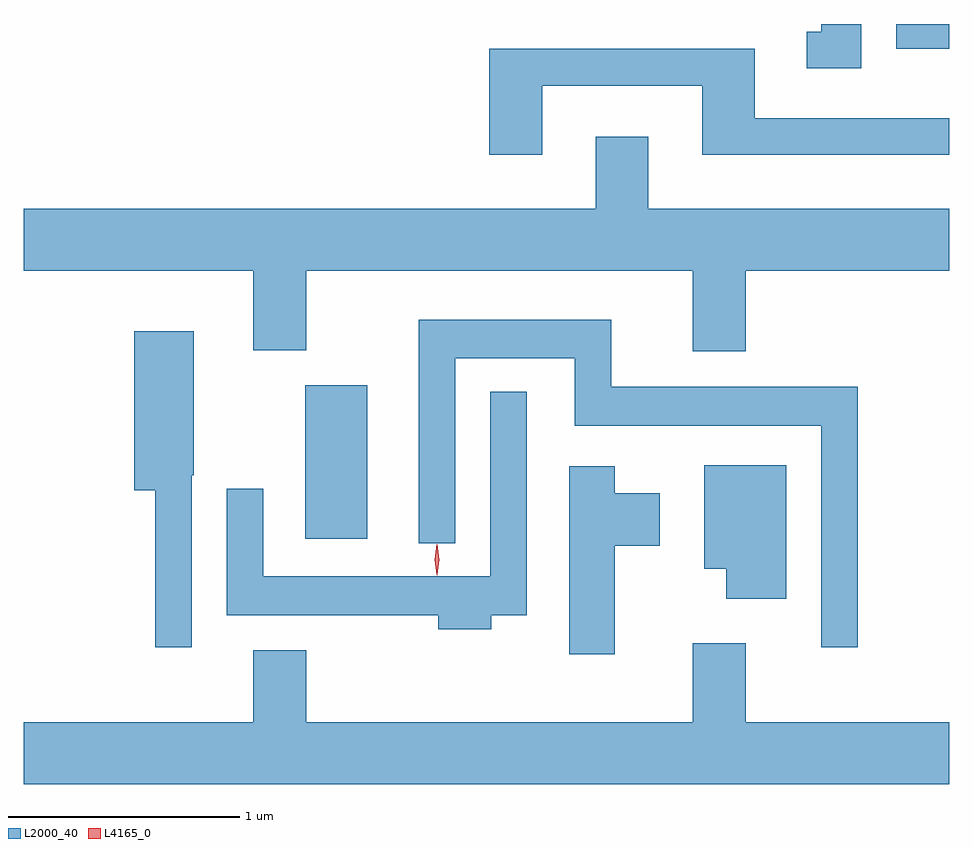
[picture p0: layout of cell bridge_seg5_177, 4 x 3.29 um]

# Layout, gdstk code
import gdstk
lib = gdstk.Library(unit=1e-6, precision=1e-09)
def R(c, l, rs):  # rectangles x0, y0, x1, y1
    for r in rs: c.add(gdstk.rectangle(r[:2], r[2:], *l))
def P(c, l, *ps):  # polygons
    for p in ps: c.add(gdstk.Polygon(p, *l))
L2000_40 = (2000, 40)
L4165_0 = (4165, 0)

bridge_seg5_177 = lib.new_cell('bridge_seg5_177')
R(bridge_seg5_177, L2000_40, [(1238.316,1420.116,1238.584,1420.779), (1240.871,1422.236,1241.099,1422.342)])
P(bridge_seg5_177, L2000_40, [(1240.719,1422.342),(1240.546,1422.342),(1240.546,1422.309),(1240.483,1422.309),(1240.483,1422.151),(1240.719,1422.151)],
  [(1239.339,1422.076),(1240.031,1422.076),(1240.031,1421.776),(1241.099,1421.776),(1241.099,1421.934),(1240.259,1421.934),(1240.259,1422.234),(1239.111,1422.234),(1239.111,1421.776),(1239.339,1421.776)],
  [(1240.219,1421.276),(1241.099,1421.276),(1241.099,1421.544),(1239.799,1421.544),(1239.799,1421.854),(1239.571,1421.854),(1239.571,1421.544),(1237.099,1421.544),(1237.099,1421.276),(1238.091,1421.276),(1238.091,1420.931),(1238.319,1420.931),(1238.319,1421.276),(1239.991,1421.276),(1239.991,1420.926),(1240.219,1420.926)],
  [(1240.704,1420.774),(1239.639,1420.774),(1239.639,1421.064),(1238.806,1421.064),(1238.806,1420.098),(1238.964,1420.098),(1238.964,1420.896),(1239.481,1420.896),(1239.481,1420.606),(1240.546,1420.606),(1240.546,1419.648),(1240.704,1419.648)],
  [(1237.824,1420.39),(1237.834,1420.39),(1237.834,1421.014),(1237.576,1421.014),(1237.576,1420.326),(1237.666,1420.326),(1237.666,1419.648),(1237.824,1419.648)],
  [(1239.119,1419.786),(1239.274,1419.786),(1239.274,1420.753),(1239.116,1420.753),(1239.116,1419.954),(1238.134,1419.954),(1238.134,1420.333),(1237.976,1420.333),(1237.976,1419.786),(1238.891,1419.786),(1238.891,1419.726),(1239.119,1419.726)],
  [(1240.394,1420.434),(1240.041,1420.434),(1240.041,1419.986),(1240.136,1419.986),(1240.136,1419.856),(1240.394,1419.856)],
  [(1239.654,1420.086),(1239.849,1420.086),(1239.849,1420.314),(1239.654,1420.314),(1239.654,1420.429),(1239.456,1420.429),(1239.456,1419.616),(1239.654,1419.616)],
  [(1241.099,1419.324),(1240.219,1419.324),(1240.219,1419.664),(1239.991,1419.664),(1239.991,1419.324),(1238.319,1419.324),(1238.319,1419.634),(1238.091,1419.634),(1238.091,1419.324),(1237.099,1419.324),(1237.099,1419.056),(1241.099,1419.056)])
P(bridge_seg5_177, L4165_0, [(1238.885,1419.959),(1238.884,1419.96),(1238.875,1420.026),(1238.884,1420.092),(1238.885,1420.093),(1238.886,1420.092),(1238.895,1420.026),(1238.886,1419.96)])

lib.write_gds('bridge_seg5_177.gds')
